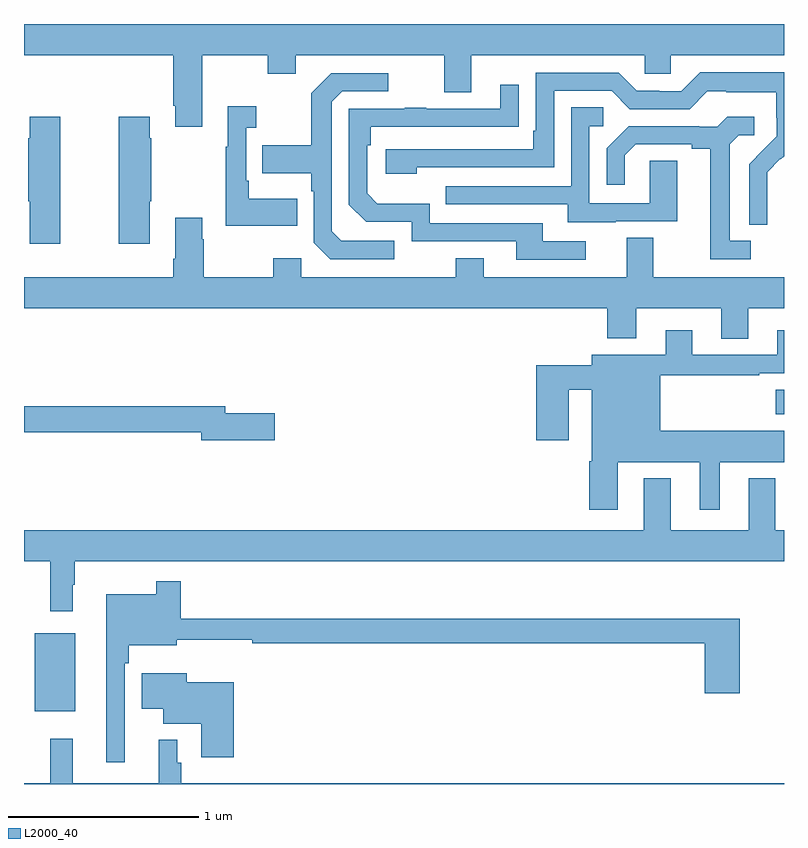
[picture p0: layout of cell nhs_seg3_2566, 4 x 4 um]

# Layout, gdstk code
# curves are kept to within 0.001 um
import gdstk
lib = gdstk.Library(unit=1e-6, precision=1e-09)
def R(c, l, rs):  # rectangles x0, y0, x1, y1
    for r in rs: c.add(gdstk.rectangle(r[:2], r[2:], *l))
def P(c, l, *ps):  # polygons
    for p in ps: c.add(gdstk.Polygon(p, *l))
L2000_40 = (2000, 40)

nhs_seg3_2566 = lib.new_cell('nhs_seg3_2566')
R(nhs_seg3_2566, L2000_40, [(243.056,710.783,243.271,711.193), (246.957,712.346,247,712.474)])
P(nhs_seg3_2566, L2000_40, [(243,714.236),(243.785,714.236),(243.785,713.971),(243.797,713.971),(243.797,713.859),(243.937,713.859),(243.937,714.236),(244.282,714.236),(244.282,714.137),(244.429,714.137),(244.429,714.236),(245.213,714.236),(245.213,714.042),(245.353,714.042),(245.353,714.236),(246.267,714.236),(246.267,714.138),(246.405,714.138),(246.405,714.236),(247,714.236),(247,714.4),(243,714.4)],
  [(246.912,713.498),(246.911,713.621),(246.981,713.691),(246.984,713.688),(247,713.704),(247,714.145),(246.559,714.145),(246.459,714.045),(246.344,714.045),(246.344,714.048),(246.225,714.048),(246.129,714.144),(245.694,714.144),(245.694,713.839),(245.681,713.839),(245.681,713.742),(244.905,713.742),(244.905,713.612),(245.066,713.612),(245.066,713.646),(245.79,713.646),(245.79,714.048),(246.093,714.048),(246.189,713.952),(246.504,713.952),(246.597,714.045),(246.697,714.045),(246.697,714.041),(246.96,714.041),(246.96,713.907),(246.962,713.907),(246.962,713.81),(246.816,713.662),(246.816,713.344),(246.912,713.344)],
  [(244.948,713.259),(244.671,713.259),(244.62,713.31),(244.62,713.991),(244.674,714.045),(244.918,714.045),(244.918,714.141),(244.617,714.141),(244.512,714.035),(244.512,713.763),(244.255,713.763),(244.255,713.615),(244.512,713.615),(244.512,713.519),(244.524,713.519),(244.524,713.25),(244.611,713.163),(244.948,713.163)],
  [(245.956,713.256),(245.731,713.256),(245.731,713.352),(245.136,713.352),(245.136,713.455),(244.859,713.455),(244.806,713.508),(244.806,713.762),(244.826,713.762),(244.826,713.859),(245.603,713.86),(245.603,714.079),(245.507,714.079),(245.507,713.955),(245.117,713.955),(245.117,713.96),(245.005,713.96),(245.005,713.955),(244.71,713.955),(244.71,713.448),(244.8,713.358),(245.04,713.358),(245.04,713.256),(245.591,713.256),(245.591,713.16),(245.956,713.16)],
  [(244.439,713.479),(244.183,713.479),(244.183,713.575),(244.17,713.575),(244.17,713.855),(244.222,713.855),(244.222,713.968),(244.073,713.968),(244.073,713.755),(244.062,713.755),(244.062,713.339),(244.439,713.339)],
  [(246.115,713.361),(246.439,713.361),(246.439,713.681),(246.294,713.681),(246.294,713.457),(245.976,713.457),(245.976,713.862),(246.049,713.862),(246.049,713.963),(245.88,713.963),(245.88,713.547),(245.221,713.547),(245.221,713.451),(245.861,713.451),(245.861,713.357),(246.115,713.357)],
  [(243.661,713.467),(243.669,713.467),(243.669,713.798),(243.661,713.798),(243.661,713.911),(243.499,713.911),(243.499,713.244),(243.661,713.244)],
  [(246.826,713.259),(246.715,713.259),(246.715,713.767),(246.762,713.814),(246.844,713.814),(246.844,713.911),(246.7,713.911),(246.648,713.859),(246.554,713.859),(246.554,713.862),(246.182,713.862),(246.066,713.746),(246.066,713.553),(246.163,713.553),(246.163,713.709),(246.22,713.766),(246.515,713.766),(246.515,713.744),(246.611,713.744),(246.611,713.163),(246.826,713.163)],
  [(243.192,713.911),(243.029,713.911),(243.029,713.798),(243.022,713.798),(243.022,713.467),(243.029,713.467),(243.029,713.244),(243.192,713.244)],
  [(246.811,712.904),(247,712.904),(247,713.068),(246.313,713.068),(246.313,713.276),(246.173,713.276),(246.173,713.068),(245.419,713.068),(245.419,713.167),(245.272,713.167),(245.272,713.068),(244.458,713.068),(244.458,713.167),(244.312,713.167),(244.312,713.068),(243.945,713.068),(243.945,713.267),(243.937,713.267),(243.937,713.38),(243.797,713.38),(243.797,713.164),(243.785,713.164),(243.785,713.068),(243,713.068),(243,712.904),(246.071,712.904),(246.071,712.745),(246.223,712.745),(246.223,712.904),(246.671,712.904),(246.671,712.744),(246.811,712.744)],
  [(246.124,712.094),(246.557,712.094),(246.557,711.843),(246.661,711.843),(246.661,712.094),(247,712.094),(247,712.258),(246.349,712.258),(246.349,712.551),(246.869,712.551),(246.869,712.563),(247,712.563),(247,712.789),(246.965,712.789),(246.965,712.659),(246.517,712.659),(246.517,712.789),(246.377,712.789),(246.377,712.66),(245.987,712.66),(245.987,712.603),(245.696,712.603),(245.696,712.209),(245.866,712.209),(245.866,712.474),(245.987,712.474),(245.987,712.098),(245.975,712.098),(245.975,711.843),(246.124,711.843)],
  [(244.321,712.352),(244.06,712.352),(244.06,712.388),(243,712.388),(243,712.252),(243.932,712.252),(243.932,712.21),(244.321,712.21)],
  [(243.256,711.449),(243.268,711.449),(243.268,711.572),(247,711.572),(247,711.736),(246.955,711.736),(246.955,712.009),(246.815,712.009),(246.815,711.736),(246.403,711.736),(246.403,712.009),(246.263,712.009),(246.263,711.736),(243,711.736),(243,711.572),(243.139,711.572),(243.139,711.309),(243.256,711.309)],
  [(243.531,711.035),(243.551,711.035),(243.551,711.131),(243.805,711.131),(243.805,711.16),(244.201,711.16),(244.201,711.142),(246.584,711.142),(246.584,710.877),(246.767,710.877),(246.767,711.271),(243.824,711.271),(243.824,711.466),(243.696,711.466),(243.696,711.4),(243.434,711.4),(243.434,710.514),(243.531,710.514)],
  [(244.103,710.935),(243.856,710.935),(243.856,710.983),(243.62,710.983),(243.62,710.795),(243.734,710.795),(243.734,710.717),(243.932,710.717),(243.932,710.541),(244.103,710.541)],
  [(247,710.404),(243.827,710.404),(243.827,710.511),(243.807,710.511),(243.807,710.632),(243.71,710.632),(243.71,710.404),(243.257,710.404),(243.257,710.638),(243.139,710.638),(243.139,710.404),(243,710.404),(243,710.4),(247,710.4)])

lib.write_gds('nhs_seg3_2566.gds')
